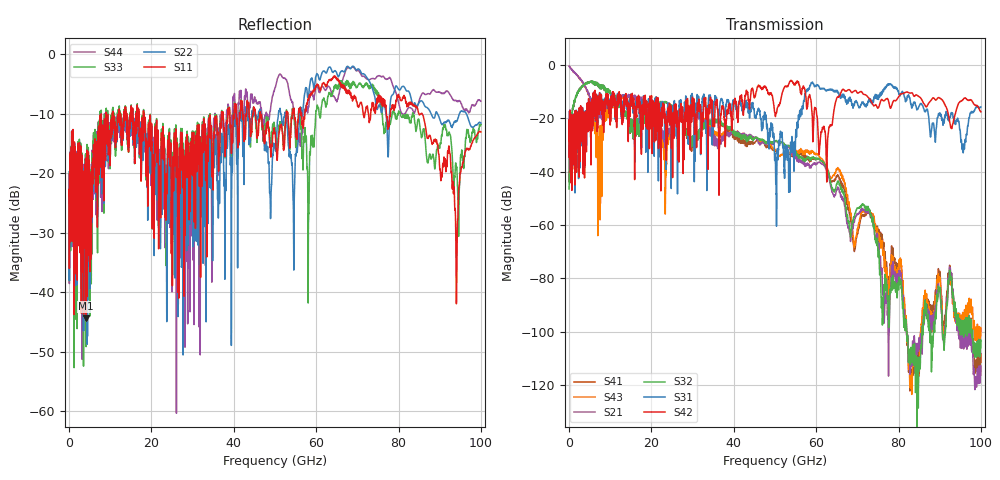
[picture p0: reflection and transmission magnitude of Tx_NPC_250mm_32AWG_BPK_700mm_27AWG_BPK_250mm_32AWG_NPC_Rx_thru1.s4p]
! Info: Touchstone file created by Circ.  Input file=Tx_NPC_250mm_32AWG_BPK_700mm_27AWG_BPK_250mm_32AWG_NPC_Rx.circ
# Hz S RI R 50
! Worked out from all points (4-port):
!   10000 points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, 10 MHz to 100 GHz, reference 50 ohm
!   strongest paths, dB at 10 MHz, 25.01 GHz, 50.01 GHz, 75.01 GHz, 100 GHz:
!     S42: -28.4, -18.5, -18.4, -16.3, -17.6
!     S31: -28.4, -23.2, -33.6, -12.0, -15.8
!     S32: -46.6, -15.7, -28.5, -68.9, -106.0
!     S21: -0.6, -21.8, -28.9, -66.9, -116.2
!     S43: -0.5, -22.5, -31.8, -63.9, -101.5
!     S41: -43.9, -15.7, -32.1, -63.0, -111.5
!   lowest |S11| = -44.4 dB at 4.07 GHz (marker M1), VSWR 1.01, Z = 50.6 + j0.049 ohm
!   |S11| at or under -10 dB: start of sweep to 8.926 GHz; 18.17 GHz to 37.03 GHz (18.86 GHz wide, 68.3 % of centre); 85.71 GHz to end of sweep (the widest 3 of 46)
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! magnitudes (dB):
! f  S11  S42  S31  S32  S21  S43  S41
! 10 MHz  -23.9  -28.4  -28.4  -46.6  -0.6  -0.5  -43.9
! 4.07 GHz  -44.4  -21.1  -20.6  -7.0  -8.5  -8.6  -6.9
! 7.45 GHz  -12.4  -14.0  -14.2  -8.4  -17.9  -28.6  -8.4
! 50.34 GHz  -16.3  -18.0  -48.4  -28.4  -28.7  -32.3  -32.5
! 58.98 GHz  -6.5  -17.7  -6.9  -34.7  -37.5  -32.2  -35.0
! 76.15 GHz  -8.8  -13.3  -9.5  -95.1  -85.0  -69.6  -66.9
! 100 GHz  -13.1  -17.6  -15.8  -106.0  -116.2  -101.5  -111.5
